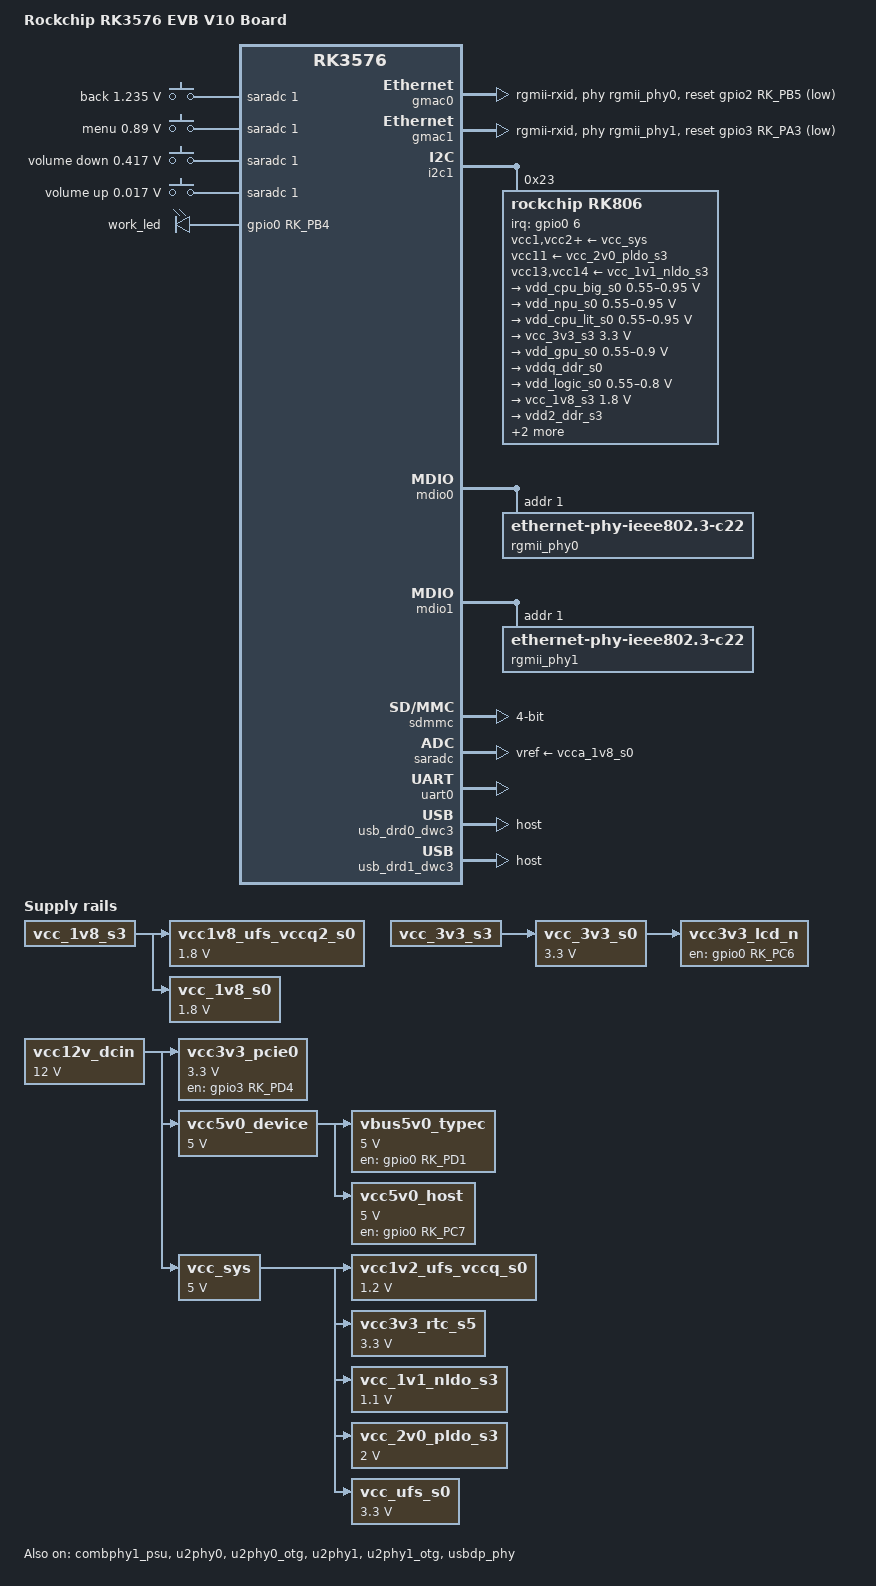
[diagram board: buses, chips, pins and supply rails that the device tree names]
// SPDX-License-Identifier: (GPL-2.0+ OR MIT)
/*
 * Copyright (c) 2024 Rockchip Electronics Co., Ltd.
 *
 */

/dts-v1/;

#include <dt-bindings/gpio/gpio.h>
#include <dt-bindings/input/input.h>
#include <dt-bindings/leds/common.h>
#include <dt-bindings/pinctrl/rockchip.h>
#include "rk3576.dtsi"

/ {
	model = "Rockchip RK3576 EVB V10 Board";
	compatible = "rockchip,rk3576-evb1-v10", "rockchip,rk3576";

	aliases {
		ethernet0 = &gmac0;
		ethernet1 = &gmac1;
	};

	chosen: chosen {
		stdout-path = "serial0:1500000n8";
	};

	adc_keys: adc-keys {
		compatible = "adc-keys";
		io-channels = <&saradc 1>;
		io-channel-names = "buttons";
		keyup-threshold-microvolt = <1800000>;
		poll-interval = <100>;

		button-back {
			label = "back";
			linux,code = <KEY_BACK>;
			press-threshold-microvolt = <1235000>;
		};

		button-menu {
			label = "menu";
			linux,code = <KEY_MENU>;
			press-threshold-microvolt = <890000>;
		};

		button-vol-down {
			label = "volume down";
			linux,code = <KEY_VOLUMEDOWN>;
			press-threshold-microvolt = <417000>;
		};

		button-vol-up {
			label = "volume up";
			linux,code = <KEY_VOLUMEUP>;
			press-threshold-microvolt = <17000>;
		};
	};

	leds: leds {
		compatible = "gpio-leds";

		work_led: led-0 {
			gpios = <&gpio0 RK_PB4 GPIO_ACTIVE_HIGH>;
			linux,default-trigger = "heartbeat";
		};
	};

	vbus5v0_typec: regulator-vbus5v0-typec {
		compatible = "regulator-fixed";
		regulator-name = "vbus5v0_typec";
		regulator-min-microvolt = <5000000>;
		regulator-max-microvolt = <5000000>;
		enable-active-high;
		gpio = <&gpio0 RK_PD1 GPIO_ACTIVE_HIGH>;
		vin-supply = <&vcc5v0_device>;
		pinctrl-names = "default";
		pinctrl-0 = <&usb_otg0_pwren>;
	};

	vcc12v_dcin: regulator-vcc12v-dcin {
		compatible = "regulator-fixed";
		regulator-name = "vcc12v_dcin";
		regulator-always-on;
		regulator-boot-on;
		regulator-min-microvolt = <12000000>;
		regulator-max-microvolt = <12000000>;
	};

	vcc1v2_ufs_vccq_s0: regulator-vcc1v2-ufs-vccq-s0 {
		compatible = "regulator-fixed";
		regulator-name = "vcc1v2_ufs_vccq_s0";
		regulator-boot-on;
		regulator-always-on;
		regulator-min-microvolt = <1200000>;
		regulator-max-microvolt = <1200000>;
		vin-supply = <&vcc_sys>;
	};

	vcc1v8_ufs_vccq2_s0: regulator-vcc1v8-ufs-vccq2-s0 {
		compatible = "regulator-fixed";
		regulator-name = "vcc1v8_ufs_vccq2_s0";
		regulator-boot-on;
		regulator-always-on;
		regulator-min-microvolt = <1800000>;
		regulator-max-microvolt = <1800000>;
		vin-supply = <&vcc_1v8_s3>;
	};

	vcc3v3_lcd_n: regulator-vcc3v3-lcd0-n {
		compatible = "regulator-fixed";
		regulator-name = "vcc3v3_lcd0_n";
		regulator-boot-on;
		enable-active-high;
		gpio = <&gpio0 RK_PC6 GPIO_ACTIVE_HIGH>;
		vin-supply = <&vcc_3v3_s0>;
	};

	vcc3v3_pcie0: regulator-vcc3v3-pcie0 {
		compatible = "regulator-fixed";
		regulator-name = "vcc3v3_pcie1";
		regulator-min-microvolt = <3300000>;
		regulator-max-microvolt = <3300000>;
		enable-active-high;
		gpios = <&gpio3 RK_PD4 GPIO_ACTIVE_HIGH>;
		startup-delay-us = <5000>;
		vin-supply = <&vcc12v_dcin>;
	};

	vcc3v3_rtc_s5: regulator-vcc3v3-rtc-s5 {
		compatible = "regulator-fixed";
		regulator-name = "vcc3v3_rtc_s5";
		regulator-boot-on;
		regulator-always-on;
		regulator-min-microvolt = <3300000>;
		regulator-max-microvolt = <3300000>;
		vin-supply = <&vcc_sys>;
	};

	vcc5v0_device: regulator-vcc5v0-device {
		compatible = "regulator-fixed";
		regulator-name = "vcc5v0_device";
		regulator-always-on;
		regulator-boot-on;
		regulator-min-microvolt = <5000000>;
		regulator-max-microvolt = <5000000>;
		vin-supply = <&vcc12v_dcin>;
	};

	vcc5v0_host: regulator-vcc5v0-host {
		compatible = "regulator-fixed";
		regulator-name = "vcc5v0_host";
		regulator-boot-on;
		regulator-always-on;
		regulator-min-microvolt = <5000000>;
		regulator-max-microvolt = <5000000>;
		enable-active-high;
		gpio = <&gpio0 RK_PC7 GPIO_ACTIVE_HIGH>;
		vin-supply = <&vcc5v0_device>;
		pinctrl-names = "default";
		pinctrl-0 = <&usb_host_pwren>;
	};

	vcc_sys: regulator-vcc5v0-sys {
		compatible = "regulator-fixed";
		regulator-name = "vcc_sys";
		regulator-always-on;
		regulator-boot-on;
		regulator-min-microvolt = <5000000>;
		regulator-max-microvolt = <5000000>;
		vin-supply = <&vcc12v_dcin>;
	};

	vcc_1v1_nldo_s3: regulator-vcc-1v1-nldo-s3 {
		compatible = "regulator-fixed";
		regulator-name = "vcc_1v1_nldo_s3";
		regulator-boot-on;
		regulator-always-on;
		regulator-min-microvolt = <1100000>;
		regulator-max-microvolt = <1100000>;
		vin-supply = <&vcc_sys>;
	};

	vcc_1v8_s0: regulator-vcc-1v8-s0 {
		compatible = "regulator-fixed";
		regulator-name = "vcc_1v8_s0";
		regulator-boot-on;
		regulator-always-on;
		regulator-min-microvolt = <1800000>;
		regulator-max-microvolt = <1800000>;
		vin-supply = <&vcc_1v8_s3>;
	};

	vcc_2v0_pldo_s3: regulator-vcc-2v0-pldo-s3 {
		compatible = "regulator-fixed";
		regulator-name = "vcc_2v0_pldo_s3";
		regulator-boot-on;
		regulator-always-on;
		regulator-min-microvolt = <2000000>;
		regulator-max-microvolt = <2000000>;
		vin-supply = <&vcc_sys>;
	};

	vcc_3v3_s0: regulator-vcc-3v3-s0 {
		compatible = "regulator-fixed";
		regulator-name = "vcc_3v3_s0";
		regulator-boot-on;
		regulator-always-on;
		regulator-min-microvolt = <3300000>;
		regulator-max-microvolt = <3300000>;
		vin-supply = <&vcc_3v3_s3>;
	};

	vcc_ufs_s0: regulator-vcc-ufs-s0 {
		compatible = "regulator-fixed";
		regulator-name = "vcc_ufs_s0";
		regulator-boot-on;
		regulator-always-on;
		regulator-min-microvolt = <3300000>;
		regulator-max-microvolt = <3300000>;
		vin-supply = <&vcc_sys>;
	};
};

&cpu_l0 {
	cpu-supply = <&vdd_cpu_lit_s0>;
};

&cpu_b0 {
	cpu-supply = <&vdd_cpu_big_s0>;
};

&combphy1_psu {
	status = "okay";
};

&gmac0 {
	clock_in_out = "output";
	phy-mode = "rgmii-rxid";
	phy-handle = <&rgmii_phy0>;
	pinctrl-names = "default";
	pinctrl-0 = <&eth0m0_miim
		     &eth0m0_tx_bus2
		     &eth0m0_rx_bus2
		     &eth0m0_rgmii_clk
		     &eth0m0_rgmii_bus
		     &ethm0_clk0_25m_out>;
	snps,reset-gpio = <&gpio2 RK_PB5 GPIO_ACTIVE_LOW>;
	snps,reset-active-low;
	snps,reset-delays-us = <0 20000 100000>;
	tx_delay = <0x21>;
	status = "okay";
};

&gmac1 {
	clock_in_out = "output";
	phy-handle = <&rgmii_phy1>;
	phy-mode = "rgmii-rxid";
	pinctrl-names = "default";
	pinctrl-0 = <&eth1m0_miim
		     &eth1m0_tx_bus2
		     &eth1m0_rx_bus2
		     &eth1m0_rgmii_clk
		     &eth1m0_rgmii_bus
		     &ethm0_clk1_25m_out>;
	snps,reset-gpio = <&gpio3 RK_PA3 GPIO_ACTIVE_LOW>;
	snps,reset-active-low;
	snps,reset-delays-us = <0 20000 100000>;
	tx_delay = <0x20>;
	status = "okay";
};

&i2c1 {
	status = "okay";

	rk806: pmic@23 {
		compatible = "rockchip,rk806";
		reg = <0x23>;
		interrupt-parent = <&gpio0>;
		interrupts = <6 IRQ_TYPE_LEVEL_LOW>;
		gpio-controller;
		#gpio-cells = <2>;
		pinctrl-names = "default";
		pinctrl-0 = <&pmic_pins>, <&rk806_dvs1_null>,
			    <&rk806_dvs2_null>, <&rk806_dvs3_null>;
		system-power-controller;

		vcc1-supply = <&vcc_sys>;
		vcc2-supply = <&vcc_sys>;
		vcc3-supply = <&vcc_sys>;
		vcc4-supply = <&vcc_sys>;
		vcc5-supply = <&vcc_sys>;
		vcc6-supply = <&vcc_sys>;
		vcc7-supply = <&vcc_sys>;
		vcc8-supply = <&vcc_sys>;
		vcc9-supply = <&vcc_sys>;
		vcc10-supply = <&vcc_sys>;
		vcc11-supply = <&vcc_2v0_pldo_s3>;
		vcc12-supply = <&vcc_sys>;
		vcc13-supply = <&vcc_1v1_nldo_s3>;
		vcc14-supply = <&vcc_1v1_nldo_s3>;
		vcca-supply = <&vcc_sys>;

		rk806_dvs1_null: dvs1-null-pins {
			pins = "gpio_pwrctrl1";
			function = "pin_fun0";
		};

		rk806_dvs2_null: dvs2-null-pins {
			pins = "gpio_pwrctrl2";
			function = "pin_fun0";
		};

		rk806_dvs3_null: dvs3-null-pins {
			pins = "gpio_pwrctrl3";
			function = "pin_fun0";
		};

		rk806_dvs1_slp: dvs1-slp-pins {
			pins = "gpio_pwrctrl1";
			function = "pin_fun1";
		};

		rk806_dvs1_pwrdn: dvs1-pwrdn-pins {
			pins = "gpio_pwrctrl1";
			function = "pin_fun2";
		};

		rk806_dvs1_rst: dvs1-rst-pins {
			pins = "gpio_pwrctrl1";
			function = "pin_fun3";
		};

		rk806_dvs2_slp: dvs2-slp-pins {
			pins = "gpio_pwrctrl2";
			function = "pin_fun1";
		};

		rk806_dvs2_pwrdn: dvs2-pwrdn-pins {
			pins = "gpio_pwrctrl2";
			function = "pin_fun2";
		};

		rk806_dvs2_rst: dvs2-rst-pins {
			pins = "gpio_pwrctrl2";
			function = "pin_fun3";
		};

		rk806_dvs2_dvs: dvs2-dvs-pins {
			pins = "gpio_pwrctrl2";
			function = "pin_fun4";
		};

		rk806_dvs2_gpio: dvs2-gpio-pins {
			pins = "gpio_pwrctrl2";
			function = "pin_fun5";
		};

		rk806_dvs3_slp: dvs3-slp-pins {
			pins = "gpio_pwrctrl3";
			function = "pin_fun1";
		};

		rk806_dvs3_pwrdn: dvs3-pwrdn-pins {
			pins = "gpio_pwrctrl3";
			function = "pin_fun2";
		};

		rk806_dvs3_rst: dvs3-rst-pins {
			pins = "gpio_pwrctrl3";
			function = "pin_fun3";
		};

		rk806_dvs3_dvs: dvs3-dvs-pins {
			pins = "gpio_pwrctrl3";
			function = "pin_fun4";
		};

		rk806_dvs3_gpio: dvs3-gpio-pins {
			pins = "gpio_pwrctrl3";
			function = "pin_fun5";
		};

		regulators {
			vdd_cpu_big_s0: dcdc-reg1 {
				regulator-always-on;
				regulator-boot-on;
				regulator-min-microvolt = <550000>;
				regulator-max-microvolt = <950000>;
				regulator-ramp-delay = <12500>;
				regulator-name = "vdd_cpu_big_s0";
				regulator-enable-ramp-delay = <400>;

				regulator-state-mem {
					regulator-off-in-suspend;
				};
			};

			vdd_npu_s0: dcdc-reg2 {
				regulator-boot-on;
				regulator-min-microvolt = <550000>;
				regulator-max-microvolt = <950000>;
				regulator-ramp-delay = <12500>;
				regulator-name = "vdd_npu_s0";
				regulator-enable-ramp-delay = <400>;

				regulator-state-mem {
					regulator-off-in-suspend;
				};
			};

			vdd_cpu_lit_s0: dcdc-reg3 {
				regulator-always-on;
				regulator-boot-on;
				regulator-min-microvolt = <550000>;
				regulator-max-microvolt = <950000>;
				regulator-ramp-delay = <12500>;
				regulator-name = "vdd_cpu_lit_s0";

				regulator-state-mem {
					regulator-off-in-suspend;
					regulator-suspend-microvolt = <750000>;
				};
			};

			vcc_3v3_s3: dcdc-reg4 {
				regulator-always-on;
				regulator-boot-on;
				regulator-min-microvolt = <3300000>;
				regulator-max-microvolt = <3300000>;
				regulator-name = "vcc_3v3_s3";

				regulator-state-mem {
					regulator-on-in-suspend;
					regulator-suspend-microvolt = <3300000>;
				};
			};

			vdd_gpu_s0: dcdc-reg5 {
				regulator-boot-on;
				regulator-min-microvolt = <550000>;
				regulator-max-microvolt = <900000>;
				regulator-ramp-delay = <12500>;
				regulator-name = "vdd_gpu_s0";
				regulator-enable-ramp-delay = <400>;

				regulator-state-mem {
					regulator-off-in-suspend;
					regulator-suspend-microvolt = <850000>;
				};
			};

			vddq_ddr_s0: dcdc-reg6 {
				regulator-always-on;
				regulator-boot-on;
				regulator-name = "vddq_ddr_s0";

				regulator-state-mem {
					regulator-off-in-suspend;
				};
			};

			vdd_logic_s0: dcdc-reg7 {
				regulator-always-on;
				regulator-boot-on;
				regulator-min-microvolt = <550000>;
				regulator-max-microvolt = <800000>;
				regulator-name = "vdd_logic_s0";

				regulator-state-mem {
					regulator-off-in-suspend;
				};
			};

			vcc_1v8_s3: dcdc-reg8 {
				regulator-always-on;
				regulator-boot-on;
				regulator-min-microvolt = <1800000>;
				regulator-max-microvolt = <1800000>;
				regulator-name = "vcc_1v8_s3";

				regulator-state-mem {
					regulator-on-in-suspend;
					regulator-suspend-microvolt = <1800000>;
				};
			};

			vdd2_ddr_s3: dcdc-reg9 {
				regulator-always-on;
				regulator-boot-on;
				regulator-name = "vdd2_ddr_s3";

				regulator-state-mem {
					regulator-on-in-suspend;
				};
			};

			vdd_ddr_s0: dcdc-reg10 {
				regulator-always-on;
				regulator-boot-on;
				regulator-min-microvolt = <550000>;
				regulator-max-microvolt = <1200000>;
				regulator-name = "vdd_ddr_s0";

				regulator-state-mem {
					regulator-off-in-suspend;
				};
			};

			vcca_1v8_s0: pldo-reg1 {
				regulator-always-on;
				regulator-boot-on;
				regulator-min-microvolt = <1800000>;
				regulator-max-microvolt = <1800000>;
				regulator-name = "vcca_1v8_s0";

				regulator-state-mem {
					regulator-off-in-suspend;
				};
			};

			vcca1v8_pldo2_s0: pldo-reg2 {
				regulator-always-on;
				regulator-boot-on;
				regulator-min-microvolt = <1800000>;
				regulator-max-microvolt = <1800000>;
				regulator-name = "vcca1v8_pldo2_s0";

				regulator-state-mem {
					regulator-off-in-suspend;
				};
			};

			vdda_1v2_s0: pldo-reg3 {
				regulator-always-on;
				regulator-boot-on;
				regulator-min-microvolt = <1200000>;
				regulator-max-microvolt = <1200000>;
				regulator-name = "vdda_1v2_s0";

				regulator-state-mem {
					regulator-off-in-suspend;
				};
			};

			vcca_3v3_s0: pldo-reg4 {
				regulator-always-on;
				regulator-boot-on;
				regulator-min-microvolt = <3300000>;
				regulator-max-microvolt = <3300000>;
				regulator-name = "vcca_3v3_s0";

				regulator-state-mem {
					regulator-off-in-suspend;
				};
			};

			vccio_sd_s0: pldo-reg5 {
				regulator-always-on;
				regulator-boot-on;
				regulator-min-microvolt = <1800000>;
				regulator-max-microvolt = <3300000>;
				regulator-name = "vccio_sd_s0";

				regulator-state-mem {
					regulator-off-in-suspend;
				};
			};

			vcca1v8_pldo6_s3: pldo-reg6 {
				regulator-always-on;
				regulator-boot-on;
				regulator-min-microvolt = <1800000>;
				regulator-max-microvolt = <1800000>;
				regulator-name = "vcca1v8_pldo6_s3";

				regulator-state-mem {
					regulator-on-in-suspend;
					regulator-suspend-microvolt = <1800000>;
				};
			};

			vdd_0v75_s3: nldo-reg1 {
				regulator-always-on;
				regulator-boot-on;
				regulator-min-microvolt = <550000>;
				regulator-max-microvolt = <750000>;
				regulator-name = "vdd_0v75_s3";

				regulator-state-mem {
					regulator-on-in-suspend;
					regulator-suspend-microvolt = <750000>;
				};
			};

			vdda_ddr_pll_s0: nldo-reg2 {
				regulator-always-on;
				regulator-boot-on;
				regulator-min-microvolt = <850000>;
				regulator-max-microvolt = <850000>;
				regulator-name = "vdda_ddr_pll_s0";

				regulator-state-mem {
					regulator-off-in-suspend;
				};
			};

			vdda0v75_hdmi_s0: nldo-reg3 {
				regulator-boot-on;
				regulator-min-microvolt = <837500>;
				regulator-max-microvolt = <837500>;
				regulator-name = "vdda0v75_hdmi_s0";

				regulator-state-mem {
					regulator-off-in-suspend;
				};
			};

			vdda_0v85_s0: nldo-reg4 {
				regulator-always-on;
				regulator-boot-on;
				regulator-min-microvolt = <850000>;
				regulator-max-microvolt = <850000>;
				regulator-name = "vdda_0v85_s0";

				regulator-state-mem {
					regulator-off-in-suspend;
				};
			};

			vdda_0v75_s0: nldo-reg5 {
				regulator-always-on;
				regulator-boot-on;
				regulator-min-microvolt = <750000>;
				regulator-max-microvolt = <750000>;
				regulator-name = "vdda_0v75_s0";

				regulator-state-mem {
					regulator-off-in-suspend;
				};
			};
		};
	};
};

&mdio0 {
	rgmii_phy0: phy@1 {
		compatible = "ethernet-phy-ieee802.3-c22";
		reg = <0x1>;
		clocks = <&cru REFCLKO25M_GMAC0_OUT>;
	};
};

&mdio1 {
	rgmii_phy1: phy@1 {
		compatible = "ethernet-phy-ieee802.3-c22";
		reg = <0x1>;
		clocks = <&cru REFCLKO25M_GMAC1_OUT>;
	};
};

&pinctrl {
	usb {
		usb_host_pwren: usb-host-pwren {
			rockchip,pins = <0 RK_PC7 RK_FUNC_GPIO &pcfg_pull_none>;
		};

		usb_otg0_pwren: usb-otg0-pwren {
			rockchip,pins = <0 RK_PD1 RK_FUNC_GPIO &pcfg_pull_none>;
		};

		usbc0_int: usbc0-int {
			rockchip,pins = <0 RK_PA5 RK_FUNC_GPIO &pcfg_pull_up>;
		};
	};
};

&sdmmc {
	bus-width = <4>;
	cap-mmc-highspeed;
	cap-sd-highspeed;
	disable-wp;
	max-frequency = <200000000>;
	no-sdio;
	no-mmc;
	sd-uhs-sdr104;
	vqmmc-supply = <&vccio_sd_s0>;
	status = "okay";
};

&saradc {
	vref-supply = <&vcca_1v8_s0>;
	status = "okay";
};

&u2phy0 {
	status = "okay";
};

&u2phy0_otg {
	phy-supply = <&vbus5v0_typec>;
	status = "okay";
};

&u2phy1 {
	status = "okay";
};

&u2phy1_otg {
	phy-supply = <&vcc5v0_host>;
	status = "okay";
};

&uart0 {
	status = "okay";
};

&usbdp_phy {
	rockchip,dp-lane-mux = <2 3>;
	status = "okay";
};

&usb_drd0_dwc3 {
	dr_mode = "host";
	status = "okay";
};

&usb_drd1_dwc3 {
	dr_mode = "host";
	status = "okay";
};
